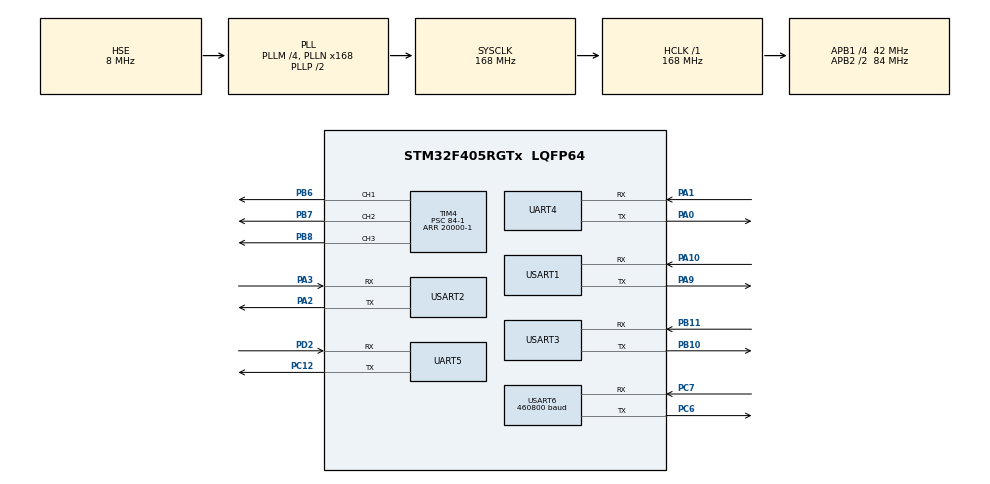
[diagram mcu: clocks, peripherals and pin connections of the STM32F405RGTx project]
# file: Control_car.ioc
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Dma.Request0=USART3_RX
Dma.Request1=USART1_RX
Dma.Request2=UART4_RX
Dma.UART4_RX.2.Direction=DMA_PERIPH_TO_MEMORY
Dma.UART4_RX.2.FIFOMode=DMA_FIFOMODE_DISABLE
Dma.UART4_RX.2.Instance=DMA1_Stream2
Dma.UART4_RX.2.MemDataAlignment=DMA_MDATAALIGN_BYTE
Dma.UART4_RX.2.MemInc=DMA_MINC_ENABLE
Dma.UART4_RX.2.Mode=DMA_NORMAL
Dma.UART4_RX.2.PeriphDataAlignment=DMA_PDATAALIGN_BYTE
Dma.UART4_RX.2.PeriphInc=DMA_PINC_DISABLE
Dma.UART4_RX.2.Priority=DMA_PRIORITY_LOW
Dma.USART1_RX.1.Direction=DMA_PERIPH_TO_MEMORY
Dma.USART1_RX.1.FIFOMode=DMA_FIFOMODE_DISABLE
Dma.USART1_RX.1.Instance=DMA2_Stream2
Dma.USART1_RX.1.MemDataAlignment=DMA_MDATAALIGN_BYTE
Dma.USART1_RX.1.MemInc=DMA_MINC_ENABLE
Dma.USART1_RX.1.Mode=DMA_NORMAL
Dma.USART1_RX.1.PeriphDataAlignment=DMA_PDATAALIGN_BYTE
Dma.USART1_RX.1.PeriphInc=DMA_PINC_DISABLE
Dma.USART1_RX.1.Priority=DMA_PRIORITY_LOW
Dma.USART3_RX.0.Direction=DMA_PERIPH_TO_MEMORY
Dma.USART3_RX.0.FIFOMode=DMA_FIFOMODE_DISABLE
Dma.USART3_RX.0.Instance=DMA1_Stream1
Dma.USART3_RX.0.MemDataAlignment=DMA_MDATAALIGN_BYTE
Dma.USART3_RX.0.MemInc=DMA_MINC_ENABLE
Dma.USART3_RX.0.Mode=DMA_NORMAL
Dma.USART3_RX.0.PeriphDataAlignment=DMA_PDATAALIGN_BYTE
Dma.USART3_RX.0.PeriphInc=DMA_PINC_DISABLE
Dma.USART3_RX.0.Priority=DMA_PRIORITY_MEDIUM
Mcu.Family=STM32F4
Mcu.Name=STM32F405RGTx
Mcu.Package=LQFP64
NVIC.DMA1_Stream1_IRQn=true\:0\:0\:false\:false\:true\:false\:true\:true
NVIC.DMA1_Stream2_IRQn=true\:0\:0\:false\:false\:true\:false\:true\:true
NVIC.DMA2_Stream2_IRQn=true\:0\:0\:false\:false\:true\:false\:true\:true
NVIC.PriorityGroup=NVIC_PRIORITYGROUP_4
NVIC.TIM1_UP_TIM10_IRQn=true\:0\:0\:false\:false\:true\:true\:true\:true
NVIC.TIM2_IRQn=true\:2\:0\:true\:false\:true\:true\:true\:true
NVIC.TIM3_IRQn=true\:0\:0\:false\:false\:true\:true\:true\:true
NVIC.UART4_IRQn=true\:0\:0\:false\:false\:true\:true\:true\:true
NVIC.UART5_IRQn=true\:0\:0\:false\:false\:true\:true\:true\:true
NVIC.USART1_IRQn=true\:1\:0\:true\:false\:true\:true\:true\:true
NVIC.USART2_IRQn=true\:0\:0\:false\:false\:true\:true\:true\:true
NVIC.USART3_IRQn=true\:1\:0\:true\:false\:true\:true\:true\:true
NVIC.USART6_IRQn=true\:0\:0\:false\:false\:true\:true\:true\:true
PA0-WKUP.Mode=Asynchronous
PA0-WKUP.Signal=UART4_TX
PA1.Mode=Asynchronous
PA1.Signal=UART4_RX
PA10.Mode=Asynchronous
PA10.Signal=USART1_RX
PA13.Mode=Serial_Wire
PA13.Signal=SYS_JTMS-SWDIO
PA14.Mode=Serial_Wire
PA14.Signal=SYS_JTCK-SWCLK
PA2.Mode=Asynchronous
PA2.Signal=USART2_TX
PA3.Mode=Asynchronous
PA3.Signal=USART2_RX
PA9.Mode=Asynchronous
PA9.Signal=USART1_TX
PB10.Mode=Asynchronous
PB10.Signal=USART3_TX
PB11.Mode=Asynchronous
PB11.Signal=USART3_RX
PB6.Signal=S_TIM4_CH1
PB7.Signal=S_TIM4_CH2
PB8.Signal=S_TIM4_CH3
PC12.Mode=Asynchronous
PC12.Signal=UART5_TX
PC6.Mode=Asynchronous
PC6.Signal=USART6_TX
PC7.Mode=Asynchronous
PC7.Signal=USART6_RX
PD2.Mode=Asynchronous
PD2.Signal=UART5_RX
PH0-OSC_IN.Mode=HSE-External-Oscillator
PH0-OSC_IN.Signal=RCC_OSC_IN
PH1-OSC_OUT.Mode=HSE-External-Oscillator
PH1-OSC_OUT.Signal=RCC_OSC_OUT
ProjectManager.HeapSize=0x200
ProjectManager.StackSize=0x400
ProjectManager.TargetToolchain=CMake
RCC.48MHZClocksFreq_Value=84000000
RCC.AHBFreq_Value=168000000
RCC.APB1CLKDivider=RCC_HCLK_DIV4
RCC.APB1Freq_Value=42000000
RCC.APB1TimFreq_Value=84000000
RCC.APB2CLKDivider=RCC_HCLK_DIV2
RCC.APB2Freq_Value=84000000
RCC.APB2TimFreq_Value=168000000
RCC.CortexFreq_Value=168000000
RCC.HCLKFreq_Value=168000000
RCC.HSE_VALUE=8000000
RCC.HSI_VALUE=16000000
RCC.LSE_VALUE=32768
RCC.PLLM=4
RCC.PLLN=168
RCC.PLLSourceVirtual=RCC_PLLSOURCE_HSE
RCC.SYSCLKFreq_VALUE=168000000
RCC.SYSCLKSource=RCC_SYSCLKSOURCE_PLLCLK
RCC.VCOOutputFreq_Value=336000000
SH.S_TIM4_CH1.0=TIM4_CH1,PWM Generation1 CH1
SH.S_TIM4_CH2.0=TIM4_CH2,PWM Generation2 CH2
SH.S_TIM4_CH3.0=TIM4_CH3,PWM Generation3 CH3
TIM1.AutoReloadPreload=TIM_AUTORELOAD_PRELOAD_ENABLE
TIM1.Period=1
TIM1.Prescaler=168-1
TIM2.AutoReloadPreload=TIM_AUTORELOAD_PRELOAD_ENABLE
TIM2.Period=100000-1
TIM2.Prescaler=840-1
TIM3.AutoReloadPreload=TIM_AUTORELOAD_PRELOAD_ENABLE
TIM3.Period=50000-1
TIM3.Prescaler=1680-1
TIM4.AutoReloadPreload=TIM_AUTORELOAD_PRELOAD_ENABLE
TIM4.Channel-PWM\ Generation1\ CH1=TIM_CHANNEL_1
TIM4.Channel-PWM\ Generation2\ CH2=TIM_CHANNEL_2
TIM4.Channel-PWM\ Generation3\ CH3=TIM_CHANNEL_3
TIM4.Period=20000-1
TIM4.Prescaler=84-1
UART4.VirtualMode=Asynchronous
UART5.VirtualMode=Asynchronous
USART1.VirtualMode=VM_ASYNC
USART2.VirtualMode=VM_ASYNC
USART3.VirtualMode=VM_ASYNC
USART6.BaudRate=460800
USART6.VirtualMode=VM_ASYNC
VP_TIM1_VS_ClockSourceINT.Mode=Internal
VP_TIM2_VS_ClockSourceINT.Mode=Internal
VP_TIM3_VS_ClockSourceINT.Mode=Internal
VP_TIM4_VS_ClockSourceINT.Mode=Internal
board=custom

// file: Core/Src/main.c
/* USER CODE BEGIN Header */
/**
 ******************************************************************************
 * @file           : main.c
 * @brief          : Main program body
 ******************************************************************************
 * @attention
 *
 * Copyright (c) 2026 STMicroelectronics.
 * All rights reserved.
 *
 * This software is licensed under terms that can be found in the LICENSE file
 * in the root directory of this software component.
 * If no LICENSE file comes with this software, it is provided AS-IS.
 *
 ******************************************************************************
 */
/* USER CODE END Header */
#include "main.h"
#include "dma.h"
#include "stm32f4xx_hal_uart.h"
#include "tim.h"
#include "usart.h"
#include "gpio.h"

/* USER CODE BEGIN Includes */
#include "stdio.h"
#include "string.h"
#include "motor.h"
#include "OPS9.h"
#include "math.h"
#include "servo_motor.h"
#include "path_plan.h"
#include "ar_screen.h"
#include "lub_cat.h"
#include <stdbool.h>
#include <stdint.h>
/* USER CODE END Includes */

/* USER CODE BEGIN PV */
typedef enum {
    STATE_INIT,
    STATE_NAV,
    STATE_STOP,
} SystemState_t;
//-----------------------------------全局变量----------------------------------*/
uint8_t OPS_redata[OPS9_data_len];
volatile float OPS_angle = 0.0f;
volatile float OPS_X = 0.0f;
volatile float OPS_Y = 0.0f;
uint8_t CAT_redata[CAT_data_len];
volatile int16_t CAT_x = 0;
volatile int16_t CAT_y = 0;
uint8_t ar_data[30];
/*----------------------------------------------调试变量(可删)----------------------------*/
uint8_t receive;
uint8_t pathl[4];
int pt[4];
bool pt_sta = false;
uint8_t hc_os[17];
int goal_x = 0, goal_y = 0, goal_w = 0;
volatile bool re_sta = false;
uint8_t lub_cat_re[4];
volatile bool lubanready = false;
bool luban_finish = false;
uint8_t arm_control_data[5];
bool arm_state = false;
/*-----------------------------------状态变量----------------------------------*/
uint32_t ALL_time = 0;
volatile bool send_data_state = true;
volatile bool opsready = false;
volatile bool catready = false;
volatile bool ar_screen_sta = false; /* true = AR_Screen 接收数据完成标志，主循环用 */
SystemState_t currentState = STATE_INIT;
/* USER CODE END PV */

void SystemClock_Config(void);

/* USER CODE BEGIN 0 */
/*-----------------------------------电机控制=----------------------*/
void HAL_TIM_PeriodElapsedCallback(TIM_HandleTypeDef *htim) {
    if (htim == &htim1) { // 发送数据至电机
        static int id = 0;
        id++;
        if (id == 5) {
            id = 0;
            motor_go();
            HAL_TIM_Base_Stop_IT(&htim1);
            send_data_state = true;
        } else
            send_motor_speed(id);
    } else if (htim == &htim3) {
        static uint8_t a = 0;
        a++;
        if (a > 14) {
            a = 0;
            HAL_TIM_Base_Stop_IT(htim);
            currentState = STATE_NAV;
        }
    }
}

/*-------------------------------------串口接收事件回调函数-------------------------*/
void HAL_UARTEx_RxEventCallback(UART_HandleTypeDef *huart, uint16_t Size) {
    if (huart == &huart1) { // 鲁班猫数据处理
        if (CAT_redata[0] == 0xAF && CAT_redata[1] == 0xFA && CAT_redata[2] == 0x0B) {
            if (CAT_redata[9] == 0xCF && CAT_redata[10] == 0xFC) {
                CAT_x = *(int16_t *)&CAT_redata[4];
                CAT_y = *(int16_t *)&CAT_redata[6];
                catready = true;
                HAL_UART_Transmit(&huart5, (uint8_t *)"luban_ready", sizeof("luban_ready") - 1, HAL_MAX_DELAY);
            }
        } else if (CAT_redata[0] == 0xAF && CAT_redata[1] == 0XFA && CAT_redata[2] == 0x0C) {
            if (CAT_redata[10] == 0xCF && CAT_redata[11] == 0xFC) {
                CAT_x = *(int16_t *)&CAT_redata[5];
                CAT_y = *(int16_t *)&CAT_redata[7];
                catready = true;
                HAL_UART_Transmit(&huart5, (uint8_t *)"luban_ready", sizeof("luban_ready") - 1, HAL_MAX_DELAY);
            }
        }
        /* DMA_NORMAL 模式收完一包即停，必须重装接收，否则坐标只收一次 */
        HAL_UARTEx_ReceiveToIdle_DMA(&huart1, CAT_redata, CAT_data_len);
    } else if (huart == &huart3) { // OPS9数据处理
        if (Size == 28 && OPS_redata[0] == 0x0D && OPS_redata[1] == 0x0A && OPS_redata[26] == 0x0A &&
            OPS_redata[27] == 0x0D) {
            OPS_angle = *(float *)&OPS_redata[2];
            OPS_X = *(float *)&OPS_redata[14];
            OPS_Y = *(float *)&OPS_redata[18];
            float temp = OPS_X;
            OPS_X = OPS_Y;
            OPS_Y = -temp;
            if (OPS_X >= -20000.0f && OPS_X <= 20000.0f && OPS_Y >= -20000.0f && OPS_Y <= 20000.0f &&
                OPS_angle >= -360.0f && OPS_angle <= 360.0f) {
                opsready = true;
            }
        }
        /* DMA_NORMAL 模式收完一包即停，必须重装接收，否则坐标只收一次 */
        HAL_UARTEx_ReceiveToIdle_DMA(&huart3, OPS_redata, OPS9_data_len);
    } else if (huart == &huart4) { // AR_Screen数据处理
        if (Size > 14) {
            ar_screen_sta = true;
        }
    }
}
/*-------------------------------------串口外设---------------------------------*/
void HAL_UART_RxCpltCallback(UART_HandleTypeDef *huart) {
    // if (huart == &huart5) { // 全局定位
    //     re_sta = true;
    //     HAL_UART_Receive_IT(&huart5, hc_os, 17);
    // }

    // if(huart == &huart5){//路径规划
    // 	pt_sta = 1;
    // 	pt[0] = pathl[0]-48;
    // 	pt[1] = pathl[1]-48;
    // 	pt[2] = pathl[2]-48;
    // 	pt[3] = pathl[3]-48;
    // 	currentState = STATE_NAV;
    // 	HAL_UART_Receive_IT(&huart5, pathl, sizeof(pathl));//路径规划
    // }

    if (huart == &huart5) { // 机械臂调试
        arm_state = true;
        HAL_UART_Receive_IT(&huart5, arm_control_data, 5);
    }
    // if (huart == &huart5) { // 鲁班猫
    //     lubanready = true;
    //     HAL_UART_Receive_IT(&huart1, lub_cat_re, 4);
    // }
}
/*------------------------------------数据接收错误重启--------------------------------__*/
void HAL_UART_ErrorCallback(UART_HandleTypeDef *huart) {
    if (huart == &huart3) {
        // 无条件清除所有错误标志
        __HAL_UART_CLEAR_FLAG(huart, UART_FLAG_PE | UART_FLAG_FE | UART_FLAG_NE | UART_FLAG_ORE);
        // 清空HAL库错误标记
        huart->ErrorCode = HAL_UART_ERROR_NONE;

        // 重启串口接收（此时 HAL 已将 RxState 置为 READY，可安全重装）
        ops9_receive_start();
    }
}
/* USER CODE END 0 */

int main(void) {

    /* MCU Configuration--------------------------------------------------------*/

    /* Reset of all peripherals, Initializes the Flash interface and the Systick. */
    HAL_Init();

    /* Configure the system clock */
    SystemClock_Config();

    /* Initialize all configured peripherals */
    MX_GPIO_Init();
    MX_DMA_Init();
    MX_TIM4_Init();
    MX_TIM1_Init();
    MX_TIM2_Init();
    MX_TIM3_Init();
    MX_UART4_Init();
    MX_UART5_Init();
    MX_USART1_UART_Init();
    MX_USART2_UART_Init();
    MX_USART3_UART_Init();
    MX_USART6_UART_Init();
    /* USER CODE BEGIN 2 */
    //--------------------------------初始化----------------------------------
    servo_init();         // 舵机初始化
    motor_en();           // 电机使能
    ops9_receive_start(); /* 启动 OPS9 接收 DMA */
    //--------------------------------调试----------------------------------
    //	HAL_UART_Receive_IT(&huart5, pathl, sizeof(pathl));//路径规划
    // HAL_UART_Receive_IT(&huart5, hc_os, 17); // 全局定位
    //	HAL_UART_Receive_IT(&huart5, &receive, 1);
    HAL_UART_Receive_IT(&huart5, arm_control_data, 5); // 机械臂调试
    // HAL_UART_Receive_IT(&huart1, lub_cat_re, 4);       // 鲁班猫
    TIM1->ARR = 5000 - 1; // 电机发送数据频率
    uint8_t posit_state = 0;
    //   HAL_TIM_Base_Start_IT(&htim3);//OPS9启动
    /* USER CODE END 2 */

    /* Infinite loop */
    while (1) {

        /* USER CODE BEGIN 3 */
        //-----------------调试------------------------
        if (arm_state) {
            arm_state = false;
            if (arm_control_data[0] == 'f') {
                int pulse =
                    (arm_control_data[2] - 48) * 100 + (arm_control_data[3] - 48) * 10 + arm_control_data[4] - 48;
                servo_set_angle(arm_control_data[1] - 48, pulse);
            } else if (arm_control_data[0] == '+') {
                int num = (arm_control_data[2] - 48) * 100 + (arm_control_data[3] - 48) * 10 + arm_control_data[4] - 48;
                if (arm_control_data[1] == '0') {
                    send_motor_place_absolute(0, (uint32_t)num);
                } else {
                    send_motor_place_relative(0, (uint32_t)num);
                }
            } else if (arm_control_data[0] == '-') {
                int num = (arm_control_data[2] - 48) * 100 + (arm_control_data[3] - 48) * 10 + arm_control_data[4] - 48;
                if (arm_control_data[1] == '0') {
                    send_motor_place_absolute(1, (uint32_t)num);
                } else {
                    send_motor_place_relative(1, (uint32_t)num);
                }
            }
        }
        if (lubanready) { // 鲁班猫
            lubanready = false;
            Lub_Cat_receive_start();
            if (lub_cat_re[0] == 'f' && lub_cat_re[3] == 'f') {
                if (lub_cat_re[1] == '1') {
                    Lub_Cat_send_yolo(lub_cat_re[2] - 48);
                    if (cat_centre_calibrate()) {
                        Lub_Cat_send_exit();
                        HAL_UART_Transmit(&huart5, (uint8_t *)"okk", sizeof("okk") - 1, HAL_MAX_DELAY);
                    }
                } else if (lub_cat_re[1] == '2') {
                    Lub_Cat_send_ring();
                    if (cat_centre_calibrate()) {
                        Lub_Cat_send_exit();
                        HAL_UART_Transmit(&huart5, (uint8_t *)"okk", sizeof("okk") - 1, HAL_MAX_DELAY);
                    }
                } else {
                    Lub_Cat_send_material(lub_cat_re[2] - 48);
                    if (cat_centre_calibrate()) {
                        Lub_Cat_send_exit();
                        HAL_UART_Transmit(&huart5, (uint8_t *)"okk", sizeof("okk") - 1, HAL_MAX_DELAY);
                    }
                }
            }
        }
        if (re_sta) { // 全局定位
            re_sta = false;
            goal_x = 0;
            goal_y = 0;
            goal_w = 0;
            // 非停车指令才解析目标点，避免 'p' 被下面的 STATE_NAV 覆盖
            if (hc_os[16] == 'f') {
                const int pow10[4] = {1000, 100, 10, 1};
                for (int i = 0; i < 4; i++) {
                    if (hc_os[4] == '0')
                        goal_x += (hc_os[i] - 48) * pow10[i];
                    else
                        goal_x -= (hc_os[i] - 48) * pow10[i];
                    if (hc_os[10] == '0')
                        goal_y += (hc_os[i + 6] - 48) * pow10[i];
                    else
                        goal_y -= (hc_os[i + 6] - 48) * pow10[i];
                }
                if (hc_os[15] == '0')
                    goal_w = (hc_os[12] - 48) * 100 + (hc_os[13] - 48) * 10 + hc_os[14] - 48;
                else
                    goal_w = -((hc_os[12] - 48) * 100 + (hc_os[13] - 48) * 10 + hc_os[14] - 48);
                if (pid_to_goal(goal_x, goal_y, goal_w)) {
                    HAL_UART_Transmit(&huart5, (uint8_t *)"okk", sizeof("okk") - 1, HAL_MAX_DELAY);
                }
            }
        }

        //-----------------状态机------------------------
        switch (currentState) { // 初始化，
        case STATE_INIT:
            continue;
        case STATE_NAV: {
            if (posit_state == 0 && pid_to_goal(200, 200, 0)) {
                posit_state = 1;
            }
            if (posit_state == 1 && pid_to_path(0, 0, 2, 0)) { // 路径规划
                AR_Screen_Start();
                posit_state = 2;
            }
            if (posit_state == 2 && pid_to_path(2, 0, 4, 2)) {
                posit_state = 3;
            }
            if (posit_state == 3 && pid_to_path(4, 2, 0, 2)) {
                posit_state = 4;
            }
            if (posit_state == 4 && pid_to_path(0, 2, 2, 4)) {
                posit_state = 5;
            }
            if (posit_state == 5 && pid_to_path(2, 4, 4, 2)) {
                posit_state = 6;
            }
            if (posit_state == 6 && pid_to_path(4, 2, 0, 2)) {
                posit_state = 7;
            }
            if (posit_state == 7 && pid_to_path(0, 2, 2, 4)) {
                posit_state = 8;
            }
            if (posit_state == 8 && pid_to_path(2, 4, 0, 0)) {
                posit_state = 0;
                if (pid_to_goal(15, -15, 0))
                    currentState = STATE_STOP;
            } else
                continue;
            break;
        }
        case STATE_STOP: {
            motor_stop();
            // 注意删除
            HAL_UART_Transmit(&huart5, (uint8_t *)"over", sizeof("over") - 1, HAL_MAX_DELAY);
            currentState = STATE_INIT;
            break;
        }
        }
    }
    /* USER CODE END 3 */
}

void SystemClock_Config(void) {
    RCC_OscInitTypeDef RCC_OscInitStruct = {0};
    RCC_ClkInitTypeDef RCC_ClkInitStruct = {0};

    /** Configure the main internal regulator output voltage
     */
    __HAL_RCC_PWR_CLK_ENABLE();
    __HAL_PWR_VOLTAGESCALING_CONFIG(PWR_REGULATOR_VOLTAGE_SCALE1);

    /** Initializes the RCC Oscillators according to the specified parameters
     * in the RCC_OscInitTypeDef structure.
     */
    RCC_OscInitStruct.OscillatorType = RCC_OSCILLATORTYPE_HSE;
    RCC_OscInitStruct.HSEState = RCC_HSE_ON;
    RCC_OscInitStruct.PLL.PLLState = RCC_PLL_ON;
    RCC_OscInitStruct.PLL.PLLSource = RCC_PLLSOURCE_HSE;
    RCC_OscInitStruct.PLL.PLLM = 4;
    RCC_OscInitStruct.PLL.PLLN = 168;
    RCC_OscInitStruct.PLL.PLLP = RCC_PLLP_DIV2;
    RCC_OscInitStruct.PLL.PLLQ = 4;
    if (HAL_RCC_OscConfig(&RCC_OscInitStruct) != HAL_OK) {
        Error_Handler();
    }

    /** Initializes the CPU, AHB and APB buses clocks
     */
    RCC_ClkInitStruct.ClockType = RCC_CLOCKTYPE_HCLK | RCC_CLOCKTYPE_SYSCLK | RCC_CLOCKTYPE_PCLK1 | RCC_CLOCKTYPE_PCLK2;
    RCC_ClkInitStruct.SYSCLKSource = RCC_SYSCLKSOURCE_PLLCLK;
    RCC_ClkInitStruct.AHBCLKDivider = RCC_SYSCLK_DIV1;
    RCC_ClkInitStruct.APB1CLKDivider = RCC_HCLK_DIV4;
    RCC_ClkInitStruct.APB2CLKDivider = RCC_HCLK_DIV2;

    if (HAL_RCC_ClockConfig(&RCC_ClkInitStruct, FLASH_LATENCY_5) != HAL_OK) {
        Error_Handler();
    }
}

void Error_Handler(void) {
    __disable_irq();
    while (1) {
    }
}
